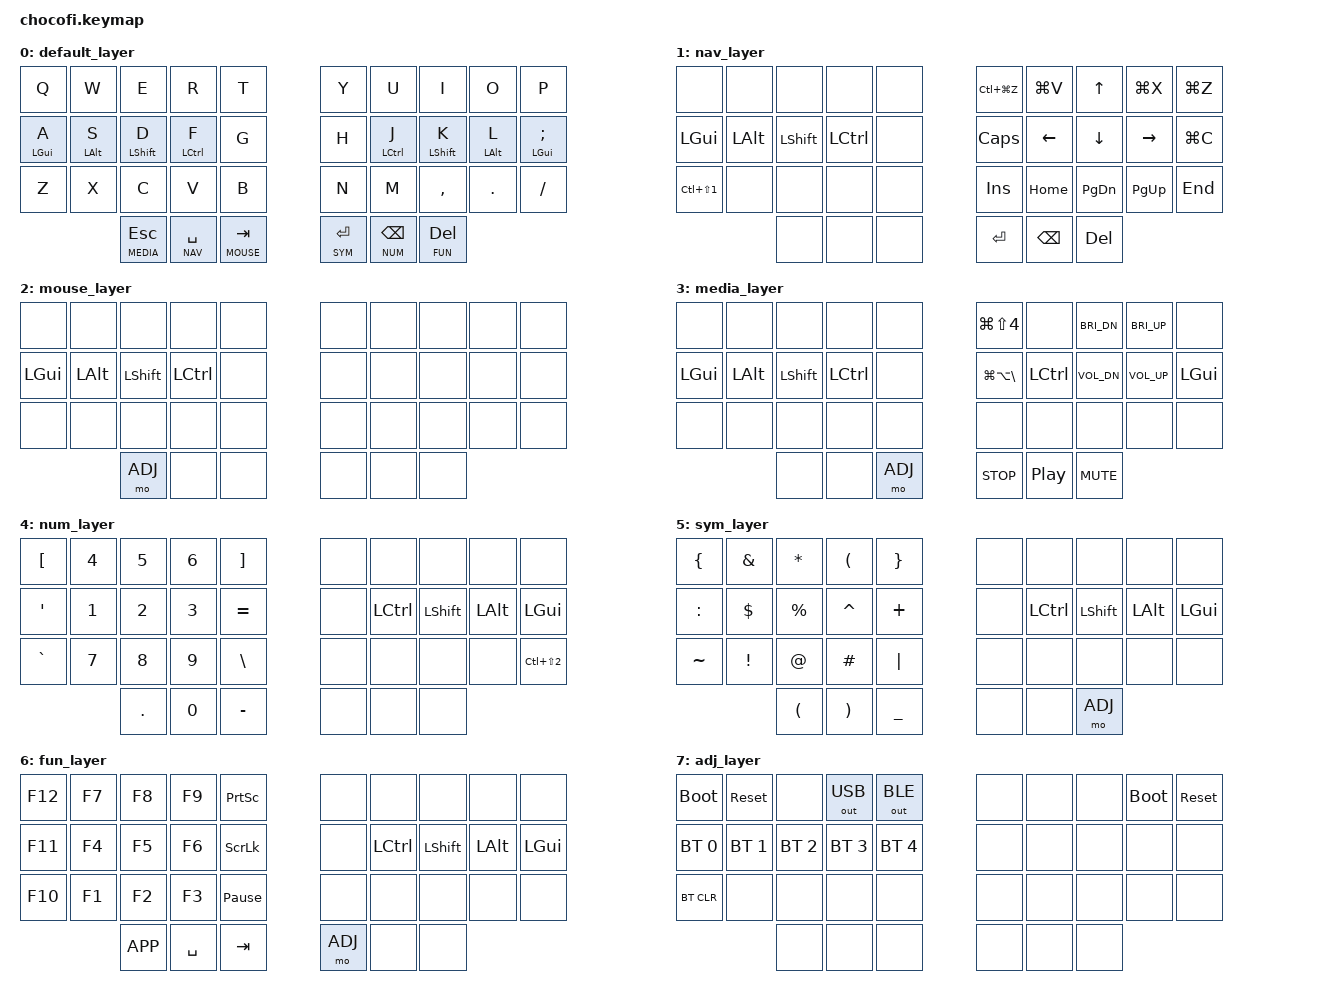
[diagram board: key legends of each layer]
#include <behaviors.dtsi>
#include <dt-bindings/zmk/keys.h>
#include <dt-bindings/zmk/bt.h>
#include <dt-bindings/zmk/outputs.h>

#define BASE 0
#define NAV 1
#define MOUSE 2
#define MEDIA 3
#define NUM 4
#define SYM 5
#define FUN 6
#define ADJ 7

&lt { quick_tap_ms = <200>; };
&mt { quick_tap_ms = <200>; };

/ {
        behaviors {
                hmr: homerow_mods_right {
                        compatible = "zmk,behavior-hold-tap";
                        label = "HOMEROW_MODS_RIGHT";
                        #binding-cells = <2>;
                        flavor = "tap-unless-interrupted";
                        tapping-term-ms = <150>;  // <---[[produces tap if held longer than tapping-term-ms]]
                        quick-tap-ms = <200>;
                        bindings = <&kp>, <&kp>;
                        hold-trigger-key-positions = 
                                <0  1  2  3  4 
                                10 11 12 13 14 
                                20 21 22 23 24 
                                      30 31 32>;
                };
                hml: homerow_mods_left {
                        compatible = "zmk,behavior-hold-tap";
                        label = "HOMEROW_MODS_LEFT";
                        #binding-cells = <2>;
                        flavor = "tap-unless-interrupted";
                        tapping-term-ms = <500>;
                        quick-tap-ms = <200>;
                        bindings = <&kp>, <&kp>;
                        hold-trigger-key-positions = 
                                <5  6  7  8  9
                                15 16 17 18 19
                                25 26 27 28 29
                                33 34 35>;
                };
        };

        combos {
                compatible = "zmk,combos";
                // combo_test {
                //         timeout-ms = <50>;
                //         key-positions = <5 6>;
                //         layers = <BASE>;
                //         bindings = <&kp N1>;
                //    };

                // i k
                combo_lbkt {
                    timeout-ms = <50>;
                    key-positions = <7 17>;
                    layers = <BASE>;
                    bindings = <&kp LBKT>;
                };
                // k ,
                combo_sqt {
                    timeout-ms = <50>;
                    key-positions = <17 27>;
                    layers = <BASE>;
                    bindings = <&kp SQT>;
                };
                // e d
                combo_rbkt {
                        timeout-ms = <50>;
                        key-positions = <2 12>;
                        layers = <BASE>;
                        bindings = <&kp RBKT>;
                };
                // d c
                combo_grave {
                        timeout-ms = <50>;
                        key-positions = <12 22>;
                        layers = <BASE>;
                        bindings = <&kp GRAVE>;
                };
                
        //         combo_fat_arrow {
        //             timeout-ms = <50>;
        //             key-positions = <13 14>;
        //             layers = <NUM>;
        //             bindings = <&kp EQUAL>, <&kp GT>;
        //         };
        };

        keymap {
                compatible = "zmk,keymap";

                default_layer {
                        bindings = <
   &kp Q       &kp W       &kp E          &kp R          &kp T             &kp Y        &kp U         &kp I        &kp O       &kp P
   &hml LGUI A &hml LALT S &hml LSHFT D   &hml LCTRL F   &kp G             &kp H        &hmr LCTRL J  &hmr LSHFT K &hmr LALT L &hmr LGUI SEMI
   &kp Z       &kp X       &kp C          &kp V          &kp B             &kp N        &kp M         &kp COMMA    &kp DOT     &kp FSLH
                           &lt MEDIA ESC  &lt NAV SPACE  &lt MOUSE TAB     &lt SYM RET  &lt NUM BSPC  &lt FUN DEL
                        >;
                };

                nav_layer {
                        bindings = <
   &none             &none         &none          &none          &none             &kp LC(LG(Z))  &kp LG(V)   &kp UP     &kp LG(X)   &kp LG(Z)
   &kp LGUI          &kp LALT      &kp LSHFT      &kp LCTRL      &none             &kp CAPS       &kp LEFT    &kp DOWN   &kp RIGHT   &kp LG(C)
   &kp LC(LS(N1)) &none         &none          &none          &none             &kp INS        &kp HOME    &kp PG_DN  &kp PG_UP   &kp END
                                   &none          &none          &none             &kp RET        &kp BSPC    &kp DEL
                        >;
                };

                mouse_layer {
                        bindings = <
   &none       &none       &none          &none          &none             &none        &none         &none        &none       &none
   &kp LGUI    &kp LALT    &kp LSHFT      &kp LCTRL      &none             &none        &none         &none        &none       &none
   &none       &none       &none          &none          &none             &none        &none         &none        &none       &none
                           &mo ADJ        &none          &none             &none        &none         &none
                        >;
                };

                media_layer {
                        bindings = <
   &none       &none       &none          &none          &none             &kp LG(LS(N4))    &none         &kp C_BRI_DN  &kp C_BRI_UP  &none
   &kp LGUI    &kp LALT    &kp LSHFT      &kp LCTRL      &none             &kp LG(LA(BSLH))  &kp LCTRL     &kp C_VOL_DN  &kp C_VOL_UP  &kp LGUI
   &none       &none       &none          &none          &none             &none             &none         &none         &none         &none
                           &none          &none          &mo ADJ           &kp C_STOP        &kp C_PP      &kp K_MUTE
                        >;
                };

                num_layer {
                        bindings = <
   &kp LBKT    &kp N4      &kp N5         &kp N6         &kp RBKT          &none        &none         &none        &none       &none
   &kp SQT     &kp N1      &kp N2         &kp N3         &kp EQUAL         &none        &kp LCTRL     &kp LSHFT    &kp LALT    &kp LGUI
   &kp GRAVE   &kp N7      &kp N8         &kp N9         &kp BSLH          &none        &none         &none        &none       &kp LC(LS(N2))
                           &kp DOT        &kp N0         &kp MINUS         &none        &none         &none
                        >;
                };

                sym_layer {
                        bindings = <
   &kp LBRC    &kp AMPS    &kp STAR       &kp LPAR       &kp RBRC          &none        &none         &none        &none       &none
   &kp COLON   &kp DLLR    &kp PRCNT      &kp CARET      &kp PLUS          &none        &kp LCTRL     &kp LSHFT    &kp LALT    &kp LGUI
   &kp TILDE   &kp EXCL    &kp AT         &kp HASH       &kp PIPE          &none        &none         &none        &none       &none
                           &kp LPAR       &kp RPAR       &kp UNDER         &none        &none         &mo ADJ
                        >;
                };

                fun_layer {
                        bindings = <
   &kp F12     &kp F7      &kp F8         &kp F9         &kp PSCRN         &none        &none         &none        &none       &none
   &kp F11     &kp F4      &kp F5         &kp F6         &kp SLCK          &none        &kp LCTRL     &kp LSHFT    &kp LALT    &kp LGUI
   &kp F10     &kp F1      &kp F2         &kp F3         &kp PAUSE_BREAK   &none        &none         &none        &none       &none
                           &kp K_APP      &kp SPACE      &kp TAB           &mo ADJ      &none         &none
                        >;
                };

                adj_layer {
                        bindings = <
     &bootloader  &sys_reset        &none         &out OUT_USB &out OUT_BLE      &none   &none   &none   &bootloader  &sys_reset
     &bt BT_SEL 0 &bt BT_SEL 1  &bt BT_SEL 2  &bt BT_SEL 3 &bt BT_SEL 4      &none   &none   &none   &none        &none
     &bt BT_CLR   &none         &none         &none        &none             &none   &none   &none   &none        &none   
                                &none         &none        &none             &none   &none   &none
                        >;
                };
        };
};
